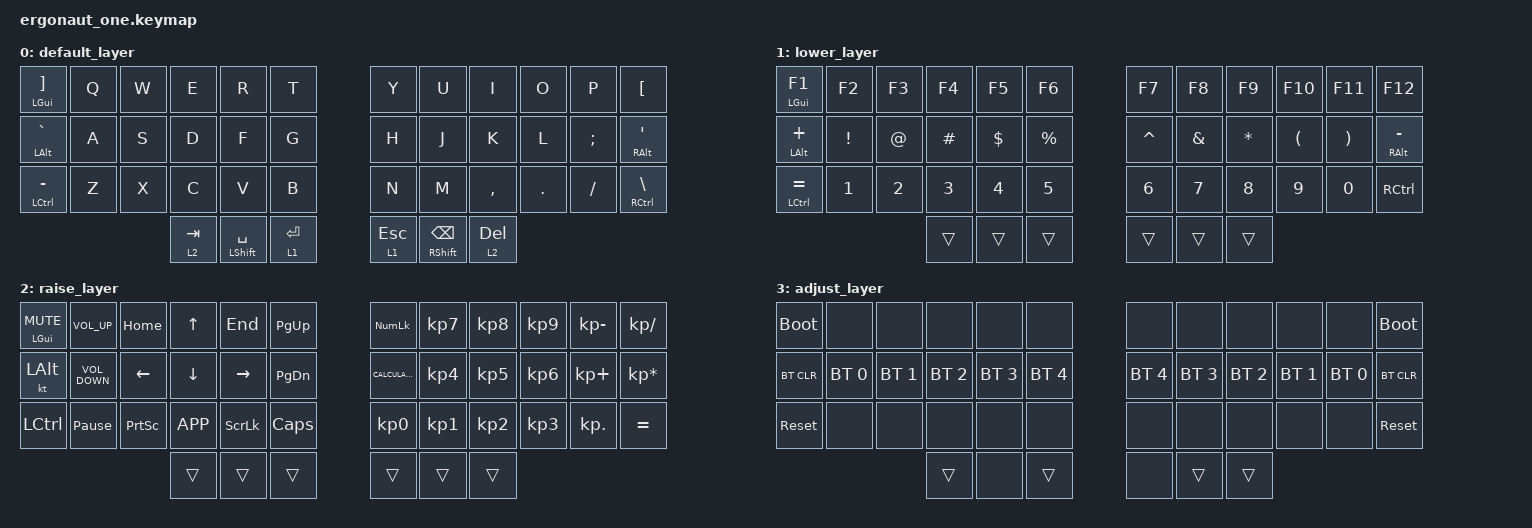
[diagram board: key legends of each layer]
#include <behaviors.dtsi>
#include <dt-bindings/zmk/bt.h>
#include <dt-bindings/zmk/keys.h>
#include <dt-bindings/zmk/keys.h>

#define DEF 0
#define LWR 1
#define RSE 2
#define ADJ 3

&lt { quick-tap-ms = <200>; };

&mt { quick-tap-ms = <200>; };

/ {
    conditional_layers {
        compatible = "zmk,conditional-layers";

        tri-layer {
            if-layers = <1 2>;
            then-layer = <3>;
        };
    };

    keymap {
        compatible = "zmk,keymap";

        default_layer {
            bindings = <
&mt LGUI RBKT           &kp Q  &kp W  &kp E      &kp R            &kp T      &kp Y      &kp U           &kp I      &kp O    &kp P     &kp LBKT
&mt LEFT_ALT GRAVE      &kp A  &kp S  &kp D      &kp F            &kp G      &kp H      &kp J           &kp K      &kp L    &kp SEMI  &mt RIGHT_ALT SQT
&mt LEFT_CONTROL MINUS  &kp Z  &kp X  &kp C      &kp V            &kp B      &kp N      &kp M           &kp COMMA  &kp DOT  &kp FSLH  &mt RIGHT_CONTROL BSLH
                                      &lt 2 TAB  &mt LSHFT SPACE  &lt 1 RET  &lt 1 ESC  &mt RSHFT BSPC  &lt 2 DEL
            >;
        };

        lower_layer {
            bindings = <
&mt LGUI F1             &kp F2    &kp F3  &kp F4    &kp F5    &kp F6     &kp F7     &kp F8    &kp F9    &kp F10   &kp F11   &kp F12
&mt LEFT_ALT PLUS       &kp EXCL  &kp AT  &kp HASH  &kp DLLR  &kp PRCNT  &kp CARET  &kp AMPS  &kp STAR  &kp LPAR  &kp RPAR  &mt RIGHT_ALT MINUS
&mt LEFT_CONTROL EQUAL  &kp N1    &kp N2  &kp N3    &kp N4    &kp N5     &kp N6     &kp N7    &kp N8    &kp N9    &kp N0    &kp RIGHT_CONTROL
                                          &trans    &trans    &trans     &trans     &trans    &trans
            >;
        };

        raise_layer {
            bindings = <
&mt LGUI C_MUTE   &kp C_VOLUME_UP    &kp HOME         &kp UP     &kp END         &kp PAGE_UP  &kp KP_NUMLOCK    &kp KP_NUMBER_7  &kp KP_NUMBER_8  &kp KP_NUMBER_9  &kp KP_MINUS  &kp KP_SLASH
&kt LEFT_ALT      &kp C_VOLUME_DOWN  &kp LEFT         &kp DOWN   &kp RIGHT       &kp PG_DN    &kp K_CALCULATOR  &kp KP_NUMBER_4  &kp KP_NUMBER_5  &kp KP_NUMBER_6  &kp KP_PLUS   &kp KP_MULTIPLY
&kp LEFT_CONTROL  &kp PAUSE_BREAK    &kp PRINTSCREEN  &kp K_APP  &kp SCROLLLOCK  &kp CAPS     &kp KP_NUMBER_0   &kp KP_NUMBER_1  &kp KP_NUMBER_2  &kp KP_NUMBER_3  &kp KP_DOT    &kp EQUAL
                                                      &trans     &trans          &trans       &trans            &trans           &trans
            >;
        };

        adjust_layer {
            bindings = <
&bootloader  &none         &none         &none         &none         &none         &none         &none         &none         &none         &none         &bootloader
&bt BT_CLR   &bt BT_SEL 0  &bt BT_SEL 1  &bt BT_SEL 2  &bt BT_SEL 3  &bt BT_SEL 4  &bt BT_SEL 4  &bt BT_SEL 3  &bt BT_SEL 2  &bt BT_SEL 1  &bt BT_SEL 0  &bt BT_CLR
&sys_reset   &none         &none         &none         &none         &none         &none         &none         &none         &none         &none         &sys_reset
                                         &trans        &none         &trans        &none         &trans        &trans
            >;
        };
    };
};
